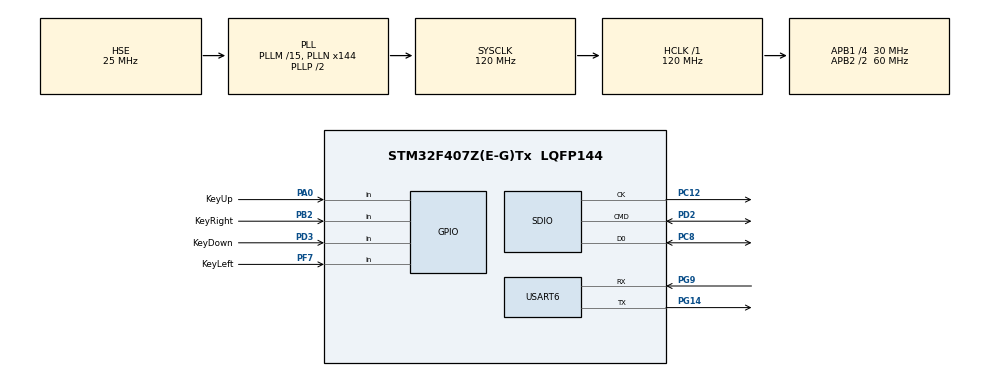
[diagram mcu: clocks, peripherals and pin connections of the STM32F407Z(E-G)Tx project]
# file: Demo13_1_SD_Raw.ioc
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Mcu.Family=STM32F4
Mcu.Name=STM32F407Z(E-G)Tx
Mcu.Package=LQFP144
NVIC.PriorityGroup=NVIC_PRIORITYGROUP_4
PA0-WKUP.GPIO_Label=KeyUp
PA0-WKUP.GPIO_PuPd=GPIO_PULLUP
PA0-WKUP.Signal=GPIO_Input
PA13.Mode=Serial_Wire
PA13.Signal=SYS_JTMS-SWDIO
PA14.Mode=Serial_Wire
PA14.Signal=SYS_JTCK-SWCLK
PB10.Signal=USART3_TX
PB11.Signal=USART3_RX
PB2.GPIO_Label=KeyRight
PB2.GPIO_PuPd=GPIO_PULLUP
PB2.Signal=GPIO_Input
PC12.Mode=SD_1_bit
PC12.Signal=SDIO_CK
PC8.Mode=SD_1_bit
PC8.Signal=SDIO_D0
PD2.Mode=SD_1_bit
PD2.Signal=SDIO_CMD
PD3.GPIO_Label=KeyDown
PD3.GPIO_PuPd=GPIO_PULLUP
PD3.Signal=GPIO_Input
PF7.GPIO_Label=KeyLeft
PF7.GPIO_PuPd=GPIO_PULLUP
PF7.Signal=GPIO_Input
PG14.Mode=Asynchronous
PG14.Signal=USART6_TX
PG9.Mode=Asynchronous
PG9.Signal=USART6_RX
PH0-OSC_IN.Mode=HSE-External-Oscillator
PH0-OSC_IN.Signal=RCC_OSC_IN
PH1-OSC_OUT.Mode=HSE-External-Oscillator
PH1-OSC_OUT.Signal=RCC_OSC_OUT
ProjectManager.HeapSize=0x200
ProjectManager.StackSize=0x400
ProjectManager.TargetToolchain=STM32CubeIDE
RCC.48MHZClocksFreq_Value=48000000
RCC.AHBFreq_Value=120000000
RCC.APB1CLKDivider=RCC_HCLK_DIV4
RCC.APB1Freq_Value=30000000
RCC.APB1TimFreq_Value=60000000
RCC.APB2CLKDivider=RCC_HCLK_DIV2
RCC.APB2Freq_Value=60000000
RCC.APB2TimFreq_Value=120000000
RCC.CSICalibrationValue=32
RCC.CortexFreq_Value=120000000
RCC.HCLKFreq_Value=120000000
RCC.HSE_VALUE=25000000
RCC.HSI_VALUE=16000000
RCC.LSE_VALUE=32768
RCC.PLL1_VCI_Range=RCC_PLL1VCIRANGE_3
RCC.PLL1_VCO_SEL=RCC_PLL1VCOWIDE
RCC.PLL2FRACN=0
RCC.PLL2_VCI_Range=RCC_PLL2VCIRANGE_3
RCC.PLL2_VCO_SEL=RCC_PLL2VCOWIDE
RCC.PLL3FRACN=0
RCC.PLL3_VCI_Range=RCC_PLL3VCIRANGE_3
RCC.PLL3_VCO_SEL=RCC_PLL3VCOWIDE
RCC.PLLFRACN=0
RCC.PLLM=15
RCC.PLLN=144
RCC.PLLQ=5
RCC.PLLSourceVirtual=RCC_PLLSOURCE_HSE
RCC.ProductRev=revV
RCC.SYSCLKFreq_VALUE=120000000
RCC.SYSCLKSource=RCC_SYSCLKSOURCE_PLLCLK
RCC.VCOOutputFreq_Value=240000000
SDIO.ClockDiv=255
USART6.VirtualMode=VM_ASYNC
board=custom

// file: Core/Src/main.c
/* USER CODE BEGIN Header */
/**
  ******************************************************************************
  * @file           : main.c
  * @brief          : Main program body
  ******************************************************************************
  * @attention
  *
  * Copyright (c) 2025 STMicroelectronics.
  * All rights reserved.
  *
  * This software is licensed under terms that can be found in the LICENSE file
  * in the root directory of this software component.
  * If no LICENSE file comes with this software, it is provided AS-IS.
  *
  ******************************************************************************
  */
/* USER CODE END Header */
#include "main.h"
#include "sdio.h"
#include "usart.h"
#include "gpio.h"

/* USER CODE BEGIN Includes */
#include "keyled.h"
#include <stdio.h>
/* USER CODE END Includes */

void SystemClock_Config(void);

int main(void)
{

  /* MCU Configuration--------------------------------------------------------*/

  /* Reset of all peripherals, Initializes the Flash interface and the Systick. */
  HAL_Init();

  /* Configure the system clock */
  SystemClock_Config();

  /* Initialize all configured peripherals */
  MX_GPIO_Init();
  MX_SDIO_SD_Init();
  MX_USART6_UART_Init();
  /* USER CODE BEGIN 2 */
  uint8_t startstr[] = "Demo13_1: SD card R/W: ";
  HAL_UART_Transmit(&huart6,startstr,sizeof(startstr),0xFFFF);

  uint8_t startstr1[] = "Read/write SD card directly. \r\n\r\n";
  HAL_UART_Transmit(&huart6,startstr1,sizeof(startstr1),0xFFFF);

  //Menu Item
  printf("[S2]KeyUp   =SD card info. \r\n");
  printf("[S3]KeyDown =Erase 0-10 blocks. \r\n");
  printf("[S4]KeyLeft =Write block. \r\n");
  printf("[S1]KeyRight=Read block. \r\n\r\n");

  while(1)
  {
	  KEYS waitKey=ScanPressedKey(KEY_WAIT_ALWAYS);	//Waiting for the key

	  if  (waitKey == KEY_UP)
		SDCard_ShowInfo();													//SD card info
	  else if (waitKey == KEY_DOWN)
		SDCard_EraseBlocks();												//Erase Block 0-10
	  else if(waitKey == KEY_LEFT)
		SDCard_TestWrite();  												//Test writing, no need to erase blocks before writing, will be erased automatically
	  else if (waitKey == KEY_RIGHT)
		SDCard_TestRead();													//Test Reading

	  printf("\r\nReselect menu item or reset. \r\n");
	  HAL_Delay(500);														//Eliminate jitter after key pressed, otherwise respond multiple times
  }
  /* USER CODE END 2 */

  /* Infinite loop */
  while (1)
  {

  }
}

void SystemClock_Config(void)
{
  RCC_OscInitTypeDef RCC_OscInitStruct = {0};
  RCC_ClkInitTypeDef RCC_ClkInitStruct = {0};

  /** Configure the main internal regulator output voltage
  */
  __HAL_RCC_PWR_CLK_ENABLE();
  __HAL_PWR_VOLTAGESCALING_CONFIG(PWR_REGULATOR_VOLTAGE_SCALE1);

  /** Initializes the RCC Oscillators according to the specified parameters
  * in the RCC_OscInitTypeDef structure.
  */
  RCC_OscInitStruct.OscillatorType = RCC_OSCILLATORTYPE_HSE;
  RCC_OscInitStruct.HSEState = RCC_HSE_ON;
  RCC_OscInitStruct.PLL.PLLState = RCC_PLL_ON;
  RCC_OscInitStruct.PLL.PLLSource = RCC_PLLSOURCE_HSE;
  RCC_OscInitStruct.PLL.PLLM = 15;
  RCC_OscInitStruct.PLL.PLLN = 144;
  RCC_OscInitStruct.PLL.PLLP = RCC_PLLP_DIV2;
  RCC_OscInitStruct.PLL.PLLQ = 5;
  if (HAL_RCC_OscConfig(&RCC_OscInitStruct) != HAL_OK)
  {
    Error_Handler();
  }

  /** Initializes the CPU, AHB and APB buses clocks
  */
  RCC_ClkInitStruct.ClockType = RCC_CLOCKTYPE_HCLK|RCC_CLOCKTYPE_SYSCLK
                              |RCC_CLOCKTYPE_PCLK1|RCC_CLOCKTYPE_PCLK2;
  RCC_ClkInitStruct.SYSCLKSource = RCC_SYSCLKSOURCE_PLLCLK;
  RCC_ClkInitStruct.AHBCLKDivider = RCC_SYSCLK_DIV1;
  RCC_ClkInitStruct.APB1CLKDivider = RCC_HCLK_DIV4;
  RCC_ClkInitStruct.APB2CLKDivider = RCC_HCLK_DIV2;

  if (HAL_RCC_ClockConfig(&RCC_ClkInitStruct, FLASH_LATENCY_3) != HAL_OK)
  {
    Error_Handler();
  }
}

/* USER CODE BEGIN 4 */
/* HAL_SD_GetCardInfo(), Display SD card information */
void SDCard_ShowInfo()
{
	HAL_SD_CardInfoTypeDef cardInfo;  //SD card information structure
	HAL_StatusTypeDef res=HAL_SD_GetCardInfo(&hsd, &cardInfo);

	if (res!=HAL_OK)
	{
		printf("HAL_SD_GetCardInfo() error. \r\n");
		return;
	}

	printf("*** HAL_SD_GetCardInfo() info *** \r\n\r\n");

	printf("Card Type= %ld \r\n", cardInfo.CardType);
	printf("Card Version= %ld \r\n", cardInfo.CardVersion);
	printf("Card Class= %ld \r\n", cardInfo.Class);
	printf("Relative Card Address= %ld \r\n", cardInfo.RelCardAdd);
	printf("Block Count= %ld \r\n", cardInfo.BlockNbr);
	printf("Block Size(Bytes)= %ld \r\n", cardInfo.BlockSize);
	printf("LogiBlockCount= %ld \r\n", cardInfo.LogBlockNbr);
	printf("LogiBlockSize(Bytes)= %ld \r\n", cardInfo.LogBlockSize);

	uint32_t cap = cardInfo.BlockNbr/1024;	//KB
	cap	= cap*cardInfo.BlockSize;			//KB
	cap = cap/1024;							//MB

	printf("SD Card Capacity(MB)= %ld \r\n", cap);
}

void SDCard_ShowCSD()
{
	HAL_SD_CardCSDTypeDef cardCSD;
	HAL_StatusTypeDef res=HAL_SD_GetCardCSD(&hsd, &cardCSD);

	if (res!=HAL_OK)
	{
		printf("HAL_SD_GetCardCSD() error. \r\n");
		return;
	}

	printf("***HAL_SD_GetCardCSD() info*** \r\n\r\n");

	printf("Specification Version= %d \r\n", cardCSD.SysSpecVersion);
	printf("Max Bus Clock Freq= %d \r\n", cardCSD.MaxBusClkFrec);
	printf("Read Block Len= %d \r\n", cardCSD.RdBlockLen);
	printf("DeviceSize= %ld \r\n", cardCSD.DeviceSize);
	printf("DeviceSizeMul= %d \r\n", cardCSD.DeviceSizeMul);
	printf("EraseGrSize= %d \r\n", cardCSD.EraseGrSize);
	printf("MaxWrBlockLen= %d \r\n", cardCSD.MaxWrBlockLen);
}

void SDCard_ShowCID()
{
	HAL_SD_CardCIDTypeDef cardCID;
	HAL_StatusTypeDef res=HAL_SD_GetCardCID(&hsd, &cardCID);

	if (res!=HAL_OK)
	{
		printf("HAL_SD_GetCardCID() error. \r\n");
		return;
	}

	printf("*** HAL_SD_GetCardCSD() info *** \r\n\r\n");

	printf("ManufacturerID= %d \r\n", cardCID.ManufacturerID);
	printf("ProdName1= %ld \r\n", cardCID.ProdName1);
	printf("ProdName2= %d \r\n", cardCID.ProdName2);
	printf("ProdRev= %d \r\n", cardCID.ProdRev);
	printf("ProdSN= %ld \r\n", cardCID.ProdSN);
	printf("ManufactDate= %d \r\n", cardCID.ManufactDate);
}

void SDCard_ShowStatus()
{
	HAL_SD_CardStatusTypeDef cardStatus;
	HAL_StatusTypeDef res=HAL_SD_GetCardStatus(&hsd, &cardStatus);

	if (res!=HAL_OK)
	{
		printf("HAL_SD_GetCardStatus() error. \r\n");
		return;
	}

	printf("\r\n***HAL_SD_GetCardStatus() info*** \r\n\r\n");

	printf("DataBusWidth= %d \r\n", cardStatus.DataBusWidth);
	printf("CardType= %d \r\n", cardStatus.CardType);
	printf("SpeedClass= %d \r\n", cardStatus.SpeedClass);
	printf("AllocationUnitSize= %d \r\n", cardStatus.AllocationUnitSize);
	printf("EraseSize= %d \r\n", cardStatus.EraseSize);
	printf("EraseTimeout= %d \r\n", cardStatus.EraseTimeout);
}

void SDCard_EraseBlocks()
{
	uint32_t BlockAddrStart=0; 		// Block 0, Addresses using block number
	uint32_t BlockAddrEnd=10;		// Block 10

	printf("\r\n*** Erasing blocks *** \r\n\r\n");

	if (HAL_SD_Erase(&hsd,BlockAddrStart, BlockAddrEnd)==HAL_OK)
	{
		printf("Erasing blocks,OK. \r\n");
		printf("Blocks 0-10 is erased. \r\n");
	}
	else
		printf("Erasing blocks,fail. \r\n");

	HAL_SD_CardStateTypeDef cardState=HAL_SD_GetCardState(&hsd);
	printf("GetCardState()= %ld \r\n", cardState);

	// The following code has nothing to do with erasure and can be deleted.[wen]
	while(cardState != HAL_SD_CARD_TRANSFER)   //Wait for return to transmission status
	{
		HAL_Delay(1);
		cardState=HAL_SD_GetCardState(&hsd);
		return;			//Otherwise, it will not come out after entering the loop
	}
}

void SDCard_TestWrite( )	//TestWrite
{
	printf("\r\n*** Writing blocks *** \r\n\r\n");

	uint8_t pData[BLOCKSIZE]="Hello, welcome to YCZN. \0";  //BLOCKSIZE=512, Defined in stm32f4xx_hal.h
	uint32_t BlockAddr=5; 	//Block address
	uint32_t BlockCount=1; 	//Number of blocks
	uint32_t TimeOut=1000;	//Timeout waiting time, beat count

	if (HAL_SD_WriteBlocks(&hsd,pData,BlockAddr,BlockCount,TimeOut)==HAL_OK)  //Block will be erased automatically
	{
		printf("Write to block 5, OK. \r\n");
		printf("The string is: %s \r\n", pData);
	}
	else
	{
		printf("Write to block 5, fail ***. \r\n");
		return;
	}

	for(uint16_t i=0;i<BLOCKSIZE; i++)
		pData[i]=i; 				//Generate data

	BlockAddr=6;
	if (HAL_SD_WriteBlocks(&hsd,pData,BlockAddr,BlockCount,TimeOut)==HAL_OK)  //Block will be erased automatically
	{
		printf("Write block 6, OK. \r\n");
		printf("Data in [10:15] is: %d ", pData[10]);

		for (uint16_t j=11; j<=15;j++)
		{
			printf(", %d", pData[j]);
		}
		printf("\r\n");
	}
	else
		printf("Write to block 6, fail ***. \r\n");
}

void SDCard_TestRead()			//TestRead
{
	printf("\r\n*** Reading blocks *** \r\n\r\n");

	uint8_t pData[BLOCKSIZE];	//BLOCKSIZE=512
	uint32_t BlockAddr=5;		//Block address
	uint32_t BlockCount=1;		//Number of blocks
	uint32_t TimeOut=1000;		//Timeout waiting time, beat count

	if (HAL_SD_ReadBlocks(&hsd,pData,BlockAddr,BlockCount,TimeOut)== HAL_OK)
	{
		printf("Read block 5, OK. \r\n");
		printf("The string is: %s \r\n", pData);
	}
	else
	{
		printf("Read block 5, fail ***. \r\n");
		return;
	}

	BlockAddr=6;    //Block address
	if (HAL_SD_ReadBlocks(&hsd,pData,BlockAddr,BlockCount,TimeOut)== HAL_OK)
	{
		printf("Read block 6, OK. \r\n");
		printf("Data in [10:15] is: %d ", pData[10]);

		for (uint16_t j=11; j<=15;j++)
		{
			printf(", %d", pData[j]);
		}
		printf("\r\n");
	}
}

int __io_putchar(int ch)
{
	HAL_UART_Transmit(&huart6,(uint8_t*)&ch,1,0xFFFF);
	return ch;
}
/* USER CODE END 4 */

void Error_Handler(void)
{
  __disable_irq();
  while (1)
  {
  }
}
